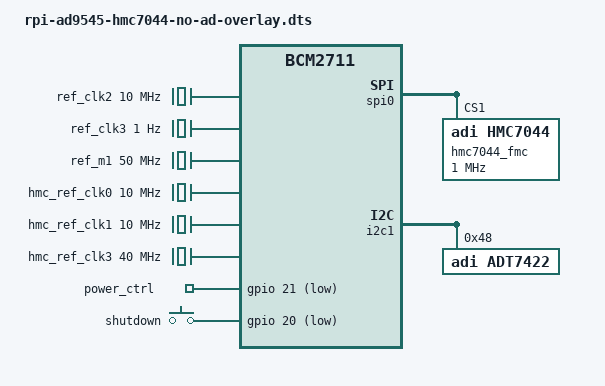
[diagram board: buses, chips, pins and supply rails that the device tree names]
// SPDX-License-Identifier: (GPL-2.0+ OR BSD-3-Clause)
/* Overlay for AD-SYNCHRONA14-EBZ Rev. B
 *
 * Copyright 2021 Analog Devices Inc.
 */

/dts-v1/;
/plugin/;

/ {
	#include <dt-bindings/clock/ad9545.h>
	#include <dt-bindings/iio/frequency/hmc7044.h>
	#include <dt-bindings/gpio/gpio.h>

	compatible = "brcm,bcm2835", "brcm,bcm2709", "brcm,bcm2711";

	fragment@0 {

		target-path = "/";
		__overlay__ {

			ref_clk2: ref_clk_2 {
				compatible = "fixed-clock";
				#clock-cells = <1>;

				clock-frequency  = <10000000>;
				clock-output-names = "Ref-B";
			};

			ref_clk3: ref_clk_3 {
				compatible = "fixed-clock";
				#clock-cells = <1>;

				clock-frequency  = <1>;
				clock-output-names = "Ref-BB";
			};

			ref_m1: ref_m1_clk {
				compatible = "fixed-clock";
				#clock-cells = <1>;

				clock-frequency  = <50000000>;
				clock-output-names = "Ref-M1";
			};

			hmc_ref_clk0: hmc_ref_clk_0 {
				compatible = "fixed-clock";
				#clock-cells = <1>;

				clock-frequency  = <10000000>;
				clock-output-names = "HMC-REF_CLKIN0";
			};

			hmc_ref_clk1: hmc_ref_clk_1 {
				compatible = "fixed-clock";
				#clock-cells = <1>;

				clock-frequency  = <10000000>;
				clock-output-names = "HMC-REF_CLKIN1";
			};

			hmc_ref_clk3: hmc_ref_clk_3 {
				compatible = "fixed-clock";
				#clock-cells = <1>;

				clock-frequency  = <40000000>;
				clock-output-names = "HMC-REF_CLKIN3";
			};
		};
	};

	fragment@1 {
		target = <&spidev0>;
		__overlay__ {
			status = "disabled";
		};
	};

	fragment@2 {
		target = <&spidev1>;
		__overlay__ {
			status = "disabled";
		};
	};

	fragment@3 {
		target = <&gpio>;
		__overlay__ {
			gpio_overrides: gpio_overrides {
				/* GPIO_4_HMC7044_CAR - 4
				 * GPIO_1_HMC7044_CAR - 17
				 * GPIO_2_HMC7044_CAR - 27
				 * GPIO_3_HMC7044_CAR - 22
				 * RESETB_AD9545_PI - 25
				 * RESET_HMC7044_CAR_PI - 5
				 * VCXO_SELECT_PI - 6
				 * GPIO19_PI - 19
				 * GPIO26_PI - 26
				 * GPIO23_PI - 16 - SYNC Enable
				 */

				// pin-25-reset-high {
				// 	pins = "gpio25";
				// 	function = "gpio_out";
				// 	bias-pull-up;
				// 	output-high;
				// 	export;
				// };

				pin-5-reset-low {
					pins = "gpio5";
					function = "gpio_out";
					bias-pull-down;
				};

				pin-6-vcxo-select {
					pins = "gpio6";
					function = "gpio_out";
					/* GPIO 6:
					 * 0 - For the 100 MHz VCXO to HMC7044:
					 * bias-pull-down;
					 *
					 * 1 - For the 122.88 MHz VCXO to HMC7044:
					 * bias-pull-up;
					 * output-high;
					 */

					bias-pull-down;

					export;
				};

				pin-32-red_led {
					pins = "gpio12";
					function = "gpio_out";
					bias-pull-up;
					output-high;
					export;
				};

				pin-36-green_led {
					pins = "gpio16";
					function = "gpio_out";
					bias-pull-up;
					export;
				};

				pin-16-sync-en {
					pins = "gpio23";
					function = "gpio_out";
					bias-pull-down;
					export;
				};
			};
		};
	};

	fragment@4 {
		target = <&spi0>;
		__overlay__ {
			compatible = "brcm,bcm2835-spi";

			#address-cells = <0x1>;
			#size-cells = <0>;
			status = "okay";

			hmc7044_fmc: hmc7044@1 {
				reg = <0x1>;

				#address-cells = <1>;
				#size-cells = <0>;
				#clock-cells = <1>;

				pinctrl-0 = <&gpio_overrides>;
				pinctrl-names = "default";

				compatible = "adi,hmc7044";
				spi-max-frequency = <1000000>;

				adi,pll1-clkin-frequencies = <10000000 10000000 10000000 40000000>;

				/*
				 *	HMC7044 Input Clocking Priorities:
				 *	CLKIN2 -> CLKIN0 -> CLKIN1 -> CLKIN3
				 *	Where:
				 *		- CLKIN2 - AD9545
				 *		- CLKIN0 - J23/J24
				 *		- CLKIN1 - J25/J26
				 *		- CLKIN3 - 40 MHz or 38.4 MHz TCXO
				 */
				adi,pll1-ref-prio-ctrl = <0xD2>;
				adi,pll1-ref-autorevert-enable;

				adi,pll1-loop-bandwidth-hz = <200>;

				/* All HMC7044 inputs are AC Coupled */
				adi,clkin0-buffer-mode = <0x07>;
				adi,clkin1-buffer-mode  = <0x07>;
				adi,clkin2-buffer-mode  = <0x07>;
				adi,clkin3-buffer-mode  = <0x07>;

				clocks = <&hmc_ref_clk0 0>,
					 <&hmc_ref_clk1 0>,
					 <&hmc_ref_clk3 0>;
				clock-names = "clkin0", "clkin1", "clkin3";

				/* depends on VCXO_SELECT_PI */
				adi,vcxo-frequency = <100000000>;
				adi,pll2-output-frequency = <2600000000>;
				adi,sysref-timer-divider = <1024>;
				adi,pulse-generator-mode = <HMC7044_PULSE_GEN_CONT_PULSE>;

				adi,oscin-buffer-mode = <0x15>;
				adi,sync-pin-mode = <HMC7044_SYNC_PIN_SYNC>;

				adi,gpi-controls = <0x00 0x00 0x00 0x00>;
				adi,gpo-controls = <0x1f 0x2b 0x00 0x00>;

				clock-output-names = "HMC7044_OUT0", "HMC7044_OUT1",
						     "HMC7044_OUT2", "HMC7044_OUT3",
						     "HMC7044_OUT4", "HMC7044_OUT5",
						     "HMC7044_OUT6", "HMC7044_OUT7",
						     "HMC7044_OUT8", "HMC7044_OUT9",
						     "HMC7044_OUT10", "HMC7044_OUT11",
						     "HMC7044_OUT12", "HMC7044_OUT13";

				/*
				 * Channels in CMOS mode should configure
				 * adi,driver-impedance-mode to:
				 * 0 - no output
				 * 1 - N output
				 * 2 - P ourput
				 * 3 - both
				 * Depending on the desired output pin.
				 */
				channel@0 {
					reg = <0>;
					adi,extended-name = "HMC7044_OUT0";
					adi,divider = <260>;
					adi,driver-mode = <HMC7044_DRIVER_MODE_LVPECL>;
				};

				channel@1 {
					reg = <1>;
					adi,extended-name = "HMC7044_OUT1";
					adi,divider = <260>;
					adi,driver-mode = <HMC7044_DRIVER_MODE_LVPECL>;
				};

				channel@2 {
					reg = <2>;
					adi,extended-name = "HMC7044_OUT2";
					adi,divider = <260>;
					adi,driver-mode = <HMC7044_DRIVER_MODE_LVPECL>;
				};

				channel@3 {
					reg = <3>;
					adi,extended-name = "HMC7044_OUT3";
					adi,divider = <260>;
					adi,driver-mode = <HMC7044_DRIVER_MODE_LVPECL>;
				};

				channel@4 {
					reg = <4>;
					adi,extended-name = "HMC7044_OUT4";
					adi,divider = <260>;
					adi,driver-mode = <HMC7044_DRIVER_MODE_CMOS>;
					adi,driver-impedance-mode = <3>;
				};

				channel@5 {
					reg = <5>;
					adi,extended-name = "HMC7044_OUT5";
					adi,divider = <260>;
					adi,driver-mode = <HMC7044_DRIVER_MODE_LVPECL>;
				};

				channel@6 {
					reg = <6>;
					adi,extended-name = "HMC7044_OUT6";
					adi,divider = <260>;
					adi,driver-mode = <HMC7044_DRIVER_MODE_CMOS>;
					adi,driver-impedance-mode = <3>;
				};

				channel@7 {
					reg = <7>;
					adi,extended-name = "HMC7044_OUT7";
					adi,divider = <260>;
					adi,driver-mode = <HMC7044_DRIVER_MODE_LVDS>;
				};

				channel@8 {
					reg = <8>;
					adi,extended-name = "HMC7044_OUT8";
					adi,divider = <260>;
					adi,driver-mode = <HMC7044_DRIVER_MODE_LVDS>;
				};

				channel@9 {
					reg = <9>;
					adi,extended-name = "HMC7044_OUT9";
					adi,divider = <260>;
					adi,driver-mode = <HMC7044_DRIVER_MODE_LVDS>;
				};

				channel@10 {
					reg = <10>;
					adi,extended-name = "HMC7044_OUT10";
					adi,divider = <260>;
					adi,driver-mode = <HMC7044_DRIVER_MODE_LVDS>;
				};

				channel@11 {
					reg = <11>;
					adi,extended-name = "HMC7044_OUT11";
					adi,divider = <260>;
					adi,driver-mode = <HMC7044_DRIVER_MODE_CMOS>;
					adi,driver-impedance-mode = <3>;
				};

				channel@12 {
					reg = <12>;
					adi,extended-name = "HMC7044_OUT12";
					adi,divider = <260>;
					adi,driver-mode = <HMC7044_DRIVER_MODE_LVPECL>;
				};

				channel@13 {
					reg = <13>;
					adi,extended-name = "HMC7044_OUT13";
					adi,divider = <260>;
					adi,driver-mode = <HMC7044_DRIVER_MODE_CMOS>;
					adi,driver-impedance-mode = <3>;
				};
			};
		};
	};

	fragment@5 {
		target-path = "/";
		__overlay__ {
			power_ctrl: power_ctrl {
				compatible = "gpio-poweroff";
				gpios = <&gpio 21 (GPIO_ACTIVE_LOW | GPIO_PULL_UP)>;
				input;
				force;
			};
		};
	};

	fragment@6 {
		target-path = "/soc";
		__overlay__ {
			shutdown_button: shutdown_button@3 {
				compatible = "gpio-keys";
				status = "okay";

				button: shutdown {
					label = "shutdown";
					linux,code = <116>; /* KEY_POWER */
					gpios = <&gpio 20 (GPIO_ACTIVE_LOW | GPIO_PULL_UP)>;
					debounce-interval = <100>;
				};
			};
		};
	};

	fragment@7 {
		target = <&i2c1>;
		__overlay__ {
			compatible = "brcm,bcm2711-i2c";
			status = "okay";

			#address-cells = <1>;
			#size-cells = <0>;

			/* Temperature sensor that monitors HMC7044 */
			adt7422@48 {
				compatible = "adi,adt7422";
				reg = <0x48>;
			};
		};
	};
};
